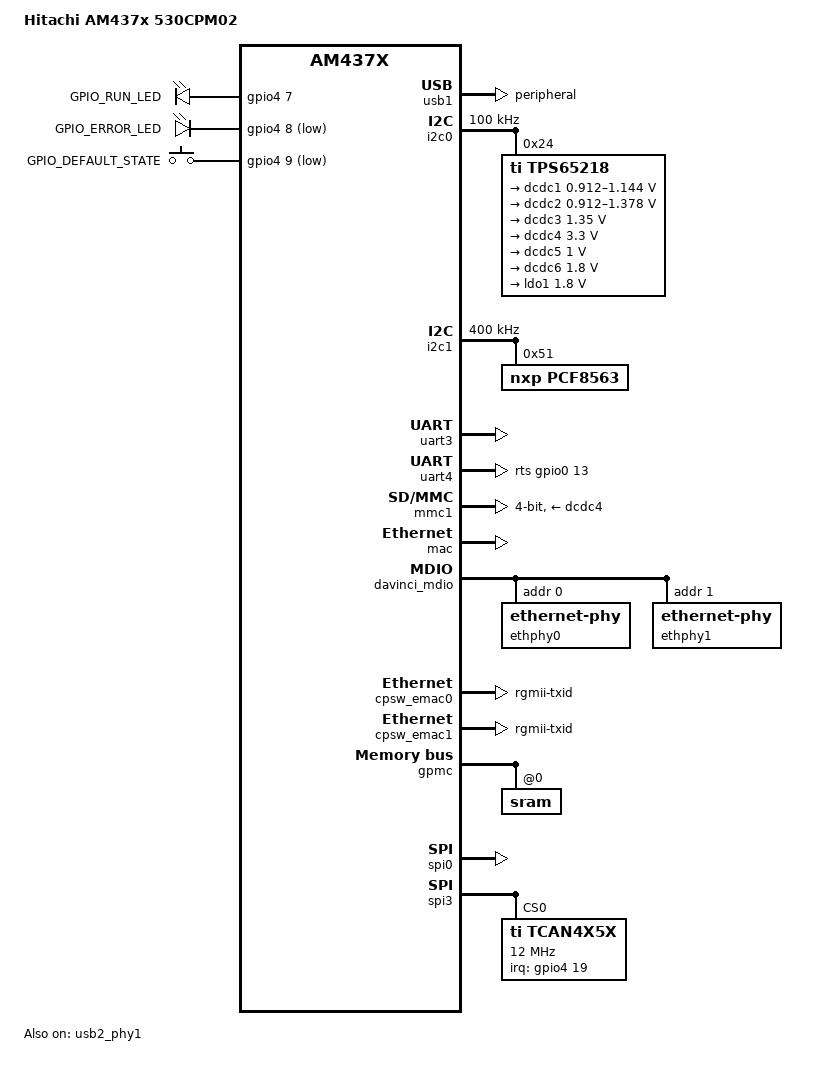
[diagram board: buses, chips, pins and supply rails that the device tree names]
/*
 * Copyright 2021-2022 Hitachi Energy.
 *
 * This program is free software; you can redistribute it and/or modify
 * it under the terms of the GNU General Public License version 2 as
 * published by the Free Software Foundation.
 */

/* Hitachi 530CPM02 */

/dts-v1/;

#include "am4372.dtsi"
#include "dt-bindings/pinctrl/am43xx.h"
#include "dt-bindings/pwm/pwm.h"
#include "dt-bindings/gpio/gpio.h"
#include "dt-bindings/net/ti-dp83867.h"
#include "dt-bindings/input/input.h"

/ {
	model = "Hitachi AM437x 530CPM02";
	compatible = "ti,am437x-gp-evm","ti,am4372","ti,am43", "hitachi,am437x-530cpm02";

	chosen {
		stdout-path = &uart3;
		tick-timer = &timer2;
	};

	status_leds {
		compatible = "gpio-leds";
		pinctrl-names = "default";
		pinctrl-0 = <&leds_pins_default>;
		led-green {
			label = "GPIO_RUN_LED";
			gpios = <&gpio4 7 GPIO_ACTIVE_HIGH>;
			default-state = "off";
		};
		led-red {
			label = "GPIO_ERROR_LED";
			gpios = <&gpio4 8 GPIO_ACTIVE_LOW>;
			default-state = "on";
		};
	};

	default_switch {
		compatible = "gpio-keys";
		pinctrl-names = "default";
		pinctrl-0 = <&switch_pins_default>;
		default-switch {
			label = "GPIO_DEFAULT_STATE";
			linux,code = <BTN_0>;
			gpios = <&gpio4 9 GPIO_ACTIVE_LOW>;
		};
	};

	uio_pg_sram@0 {
		compatible = "hitachi,uio-pg-sram";
		reg = <0x01000000 0x40000>; /* 256kB */
	};
};

&am43xx_pinmux {
	pinctrl-names = "default", "sleep";

	/* Some or all the pins from the following groups are not used by device tree 
	   ext_int_pins_default
	   jtag_pins_default
	   hw_glue_pins_default
	   _24mhz_pins_default
	   _32khz_pins_default
	   rtc_pins_default
	*/

	ext_int_pins_default: ext_int_default_pinmux {
		pinctrl-single,pins = <
			0x284 ( PIN_INPUT          | MUX_MODE0 ) /* (G25) EXTINTn.nNMI               => External interrupt connected to PMIC */
		>;
	};

	jtag_pins_default: jtag_default_pinmux {
		pinctrl-single,pins = <
			0x290 ( PIN_INPUT          | MUX_MODE0 ) /* (Y24) TMS.TMS                    => JTAG TMS */
			0x294 ( PIN_INPUT          | MUX_MODE0 ) /* (Y20) TDI.TDI                    => JTAG TDI */
			0x298 ( PIN_OUTPUT         | MUX_MODE0 ) /* (AA24) TDO.TDO                   => JTAG TDO */
			0x29c ( PIN_INPUT          | MUX_MODE0 ) /* (AA25) TCK.TCK                   => JTAG TCK */
			0x2a0 ( PIN_INPUT          | MUX_MODE0 ) /* (Y25) nTRST.nTRST                => JTAG TRSTN */
			0x2a4 ( PIN_INPUT          | MUX_MODE0 ) /* (N23) EMU0.EMU0                  => JTAG EMU0 */
			0x2a8 ( PIN_INPUT          | MUX_MODE0 ) /* (T24) EMU1.EMU1                  => JTAG EMU1 */
		>;
	};

	hw_glue_pins_default: hw_glue_default_pinmux {
		pinctrl-single,pins = <
			0x27c ( PIN_INPUT          | MUX_MODE0 ) /* (G22) WARMRSTn.nRESETIN_OUT      => SYS_RESETN */
			0x280 ( PIN_INPUT          | MUX_MODE0 ) /* (Y23) PWRONRSTn.porz             => POWER_GOOD */
		>;
	};

	leds_pins_default: leds_default_pinmux {
		pinctrl-single,pins = <
			0x1cc ( PIN_OUTPUT         | MUX_MODE7 ) /* (AC24) cam1_data9.gpio4[7]       => GPIO_RUN_LED (low pull-down) */
			0x1d0 ( PIN_OUTPUT         | MUX_MODE7 ) /* (AD24) cam1_data8.gpio4[8]       => GPIO_ERROR_LEDN (low pull-down) */
		>;
	};

	switch_pins_default: switch_default_pinmux {
		pinctrl-single,pins = <
			0x1d4 ( PIN_INPUT          | MUX_MODE7 ) /* (AD25) cam1_hd.gpio4[9]          => GPIO_DEFAULT_STATEN */
		>;
	};

	uart_iobus_pins_default: uart_iobus_default_pinmux {
		pinctrl-single,pins = <
			0x168 ( PIN_INPUT          | MUX_MODE1 ) /* (L25) uart0_ctsn.uart4_rxd       => UART4 RX */
			0x16c ( PIN_OUTPUT         | MUX_MODE1 ) /* (J25) uart0_rtsn.uart4_txd       => UART4 TX */
			0x17c ( PIN_OUTPUT         | MUX_MODE7 ) /* (L22) uart1_rtsn.gpio0[13]       => GPIO_UART4_TX_EN (low pull-down) */
			0x144 ( PIN_OUTPUT         | MUX_MODE7 ) /* (A16) rmii1_ref_clk.gpio0[29]    => GPIO_UART4_RX_EN (low pull-down) */
			0x1d8 ( PIN_INPUT          | MUX_MODE7 ) /* (AC23) cam1_vd.gpio4[10]         => GPIO_TIME_SYNC_OUT0N (high pull-up) */
								   /* This actual output is defined as input because the output */
								   /* requires high as default state and there is no way to set */
								   /* this default state here */
			0x19c ( PIN_INPUT          | MUX_MODE7 ) /* (M24) mcasp0_ahclkr.gpio3[17]    => GPIO_TIME_SYNC_IN0 (high pull-up) */
		>;
	};

	uart_debug_console_pins_default: uart_debug_console_default_pinmux {
		pinctrl-single,pins = <
			0x228 ( PIN_INPUT          | MUX_MODE0 ) /* (H25) uart3_rxd.uart3_rxd        => UART3 RX */
			0x22c ( PIN_OUTPUT         | MUX_MODE0 ) /* (H24) uart3_txd.uart3_txd        => UART3 TX */
		>;
	};

	gpio0_pins_default: gpio0_default_pinmux {
		pinctrl-single,pins = <
			0x160 ( PIN_INPUT_PULLDOWN | MUX_MODE7 ) /* (R25) spi0_cs1.gpio0[6]          => not connected (GPIO_BIT_PROT_IN on 530CPM01/03) */
			0x164 ( PIN_INPUT_PULLDOWN | MUX_MODE7 ) /* (G24) eCAP0_in_PWM0_out.gpio0[7] => not connected (GPIO_BIT_PROT_OUT on 530CPM01/03) */
			0x0d8 ( PIN_INPUT          | MUX_MODE7 ) /* (C17) dss_data14.gpio0[10]       => SYSBOOT_14 (fix connected to high) */
			0x0dc ( PIN_INPUT          | MUX_MODE7 ) /* (D17) dss_data15.gpio0[11]       => SYSBOOT_15 (fix connected to low) */
			0x178 ( PIN_OUTPUT         | MUX_MODE7 ) /* (K22) uart1_ctsn.gpio0[12]       => GPIO_EN_IO_BUS_LEFT (low pull-down) */
			0x270 ( PIN_INPUT_PULLDOWN | MUX_MODE7 ) /* (D24) xdma_event_intr0.gpio0[19] => not connected (define as MUX_MODE3 for CPU_CLK_OUT1 signal) */
			0x274 ( PIN_INPUT          | MUX_MODE7 ) /* (C24) xdma_event_intr1.gpio0[20] => GPIO_DE_IN_OUT_CPM02 (low pull-down) */
			0x278 ( PIN_INPUT          | MUX_MODE7 ) /* (H20) clkreq.gpio0[24]           => GPIO_EMMC_RESETN (high pull-up) */
								   /* This actual output is defined as input because the output */
								   /* requires high as default state and there is no way to set */
								   /* this default state here */
		>;
	};

	gpio1_pins_default: gpio1_default_pinmux {
		pinctrl-single,pins = <
			0x170 ( PIN_INPUT_PULLDOWN | MUX_MODE7 ) /* (K25) uart0_rxd.gpio1[10]        => not connected */
			0x174 ( PIN_INPUT_PULLDOWN | MUX_MODE7 ) /* (J24) uart0_txd.gpio1[11]        => not connected */
			0x080 ( PIN_OUTPUT         | MUX_MODE7 ) /* (B9) gpmc_csn1.gpio1[30]         => GPIO_RESET_SERIAL2N (low pull-down) */
								   /* This output must be set to high to get the serial ATSAM3N */
								   /* controller out of reset */
		>;
	};

	gpio2_pins_default: gpio2_default_pinmux {
		pinctrl-single,pins = <
			0x088 ( PIN_OUTPUT         | MUX_MODE7 ) /* (B12) gpmc_csn3.gpio2[0]         => GPIO_EN_CAN_TERM (high pull-up) */
			0x08c ( PIN_OUTPUT         | MUX_MODE7 ) /* (A12) gpmc_clk.gpio2[1]          => GPIO_24V_IO_ON (low pull-down) */
								   /* This output must be set to high to enable the 24V output  */
								   /* on the right board side */
			0x090 ( PIN_INPUT_PULLDOWN | MUX_MODE7 ) /* (A9) gpmc_advn_ale.gpio2[2]      => not connected (GPIO_EN_RS232_CP1 on 530CPM01/02) */
		>;
	};

	gpio3_pins_default: gpio3_default_pinmux {
		pinctrl-single,pins = <
			0x1a0 ( PIN_OUTPUT         | MUX_MODE7 ) /* (L23) mcasp0_aclkr.gpio3[18]     => GPIO_UC_ACT_LED2_CPM02 (not connected) */
			0x1a4 ( PIN_OUTPUT         | MUX_MODE7 ) /* (K23) mcasp0_fsr.gpio3[19]       => GPIO_UC_SPEED_LED2_CPM02 (not connected) */
			0x1a8 ( PIN_OUTPUT         | MUX_MODE7 ) /* (M25) mcasp0_axr1.gpio3[20]      => GPIO_UC_ACT_LED (not connected) */
			0x1ac ( PIN_OUTPUT         | MUX_MODE7 ) /* (L24) mcasp0_ahclkx.gpio3[21]    => GPIO_UC_SPEED_LED (not connected) */
			0x264 ( PIN_INPUT_PULLDOWN | MUX_MODE7 ) /* (P22) spi2_d0.gpio3[22]          => not connected */
			0x268 ( PIN_INPUT_PULLDOWN | MUX_MODE7 ) /* (P20) spi2_d1.gpio3[23]          => not connected */
			0x260 ( PIN_OUTPUT         | MUX_MODE7 ) /* (N20) spi2_sclk.gpio3[24]        => GPIO_EN_DE_IO_LEFT (low pull-down) */
			0x26c ( PIN_OUTPUT         | MUX_MODE7 ) /* (T23) spi2_cs0.gpio3[25]         => GPIO_ETH_RESETN (not connected) */
		>;
	};

	gpio4_pins_default: gpio4_default_pinmux {
		pinctrl-single,pins = <
			0x1b0 ( PIN_INPUT          | MUX_MODE7 ) /* (AE17) cam0_hd.gpio4[0]          => GPIO_5V_SENSE (low pull-down) */
			0x1b4 ( PIN_INPUT_PULLDOWN | MUX_MODE7 ) /* (AD18) cam0_vd.gpio4[1]          => not connected */
			0x1b8 ( PIN_INPUT_PULLDOWN | MUX_MODE7 ) /* (AC18) cam0_field.gpio4[2]       => not connected */
			0x1bc ( PIN_INPUT_PULLDOWN | MUX_MODE7 ) /* (AD17) cam0_wen.gpio4[3]         => not connected */
			0x1c0 ( PIN_INPUT_PULLDOWN | MUX_MODE7 ) /* (AC20) cam0_pclk.gpio4[4]        => not connected */
			0x1c4 ( PIN_INPUT          | MUX_MODE7 ) /* (AB19) cam0_data8.gpio4[5]       => SYSBOOT_18 (fix connected to low) */
			0x1c8 ( PIN_INPUT          | MUX_MODE7 ) /* (AA19) cam0_data9.gpio4[6]       => SYSBOOT_17 (fix connected to low) */
			0x1dc ( PIN_OUTPUT         | MUX_MODE7 ) /* (AE21) cam1_pclk.gpio4[11]       => GPIO_DISABLE_CAN_RIGHTN (low pull-down) */
								   /* This output must be set to high to enable CAN FD bus */
								   /* interface to the right board side */
			0x1e0 ( PIN_INPUT          | MUX_MODE7 ) /* (AC25) cam1_field.gpio4[12]      => GPIO_TIME_SYNC_OUT1N (high pull-up) */
								   /* This actual output is defined as input because the output */
								   /* requires high as default state and there is no way to set */
								   /* this default state here */
			0x1e4 ( PIN_INPUT          | MUX_MODE7 ) /* (AB25) cam1_wen.gpio4[13]        => GPIO_TIME_SYNC_OUT2N (high pull-up) */
								   /* This actual output is defined as input because the output */
								   /* requires high as default state and there is no way to set */
								   /* this default state here */
			0x200 ( PIN_OUTPUT         | MUX_MODE7 ) /* (AD23) cam1_data6.gpio4[20]      => GPIO_EN_IO_BUS_RIGHT (low pull-down) */
			0x204 ( PIN_OUTPUT         | MUX_MODE7 ) /* (AE24) cam1_data7.gpio4[21]      => GPIO_EN_DE_IO_RIGHT (low pull-down) */
			0x210 ( PIN_INPUT          | MUX_MODE7 ) /* (Y18) cam0_data2.gpio4[24]       => GPIO_ETH_INTN (high pull-up) */
			0x214 ( PIN_INPUT          | MUX_MODE7 ) /* (AA18) cam0_data3.gpio4[25]      => GPIO_ETH2_INTN (high pull-up) */
			0x218 ( PIN_INPUT_PULLUP   | MUX_MODE7 ) /* (AE19) cam0_data4.gpio4[26]      => GPIO_MMC0_DAT4 (not used) */
			0x21c ( PIN_INPUT_PULLUP   | MUX_MODE7 ) /* (AD19) cam0_data5.gpio4[27]      => GPIO_MMC0_DAT5 (not used) */
			0x220 ( PIN_INPUT_PULLUP   | MUX_MODE7 ) /* (AE20) cam0_data6.gpio4[28]      => GPIO_MMC0_DAT6 (not used) */
			0x224 ( PIN_INPUT_PULLUP   | MUX_MODE7 ) /* (AD20) cam0_data7.gpio4[29]      => GPIO_MMC0_DAT7 (not used) */
		>;
	};

	gpio5_pins_default: gpio5_default_pinmux {
		pinctrl-single,pins = <
			0x250 ( PIN_INPUT          | MUX_MODE7 ) /* (P25) spi4_sclk.gpio5[4]         => GPIO_HW_IDENT0 (fix connected to high) */
			0x254 ( PIN_INPUT          | MUX_MODE7 ) /* (R24) spi4_d0.gpio5[5]           => GPIO_HW_IDENT1 (fix connected to low) */
			0x258 ( PIN_INPUT          | MUX_MODE7 ) /* (P24) spi4_d1.gpio5[6]           => GPIO_HW_IDENT2 (fix connected to low) */
			0x25c ( PIN_INPUT          | MUX_MODE7 ) /* (N25) spi4_cs0.gpio5[7]          => GPIO_HW_IDENT3 (fix connected to low) */
			0x20c ( PIN_INPUT_PULLDOWN | MUX_MODE7 ) /* (AB18) cam0_data1.gpio5[20]      => GPIO_RESET_SERIAL1N (low pull-down) */
								   /* This output must be set to high to get the serial ATSAM3N */
								   /* controller out of reset */
		>;
	};

	sram_128x16_pins_default: sram_128x16_default_pinmux {
		pinctrl-single,pins = <
			0x0d4 ( PIN_OUTPUT         | MUX_MODE1 ) /* (D19) dss_data13.gpmc_a17 */
			0x0d0 ( PIN_OUTPUT         | MUX_MODE1 ) /* (C19) dss_data12.gpmc_a16 */
			0x0cc ( PIN_OUTPUT         | MUX_MODE1 ) /* (B18) dss_data11.gpmc_a15 */
			0x0c8 ( PIN_OUTPUT         | MUX_MODE1 ) /* (A18) dss_data10.gpmc_a14 */
			0x0c4 ( PIN_OUTPUT         | MUX_MODE1 ) /* (B19) dss_data9.gpmc_a13 */
			0x0c0 ( PIN_OUTPUT         | MUX_MODE1 ) /* (A19) dss_data8.gpmc_a12 */
			0x0ec ( PIN_OUTPUT         | MUX_MODE1 ) /* (A24) dss_ac_bias_en.gpmc_a11 */
			0x0e8 ( PIN_OUTPUT         | MUX_MODE1 ) /* (A22) dss_pclk.gpmc_a10 */
			0x0e4 ( PIN_OUTPUT         | MUX_MODE1 ) /* (A23) dss_hsync.gpmc_a9 */
			0x0e0 ( PIN_OUTPUT         | MUX_MODE1 ) /* (B23) dss_vsync.gpmc_a8 */
			0x0bc ( PIN_OUTPUT         | MUX_MODE1 ) /* (E19) dss_data7.gpmc_a7 */
			0x0b8 ( PIN_OUTPUT         | MUX_MODE1 ) /* (C20) dss_data6.gpmc_a6 */
			0x0b4 ( PIN_OUTPUT         | MUX_MODE1 ) /* (B20) dss_data5.gpmc_a5 */
			0x0b0 ( PIN_OUTPUT         | MUX_MODE1 ) /* (A20) dss_data4.gpmc_a4 */
			0x0ac ( PIN_OUTPUT         | MUX_MODE1 ) /* (C21) dss_data3.gpmc_a3 */
			0x0a8 ( PIN_OUTPUT         | MUX_MODE1 ) /* (B21) dss_data2.gpmc_a2 */
			0x0a4 ( PIN_OUTPUT         | MUX_MODE1 ) /* (A21) dss_data1.gpmc_a1 */
			0x0a0 ( PIN_OUTPUT         | MUX_MODE1 ) /* (B22) dss_data0.gpmc_a0 */
			0x03c ( PIN_INPUT          | MUX_MODE0 ) /* (A11) gpmc_ad15.gpmc_ad15 */
			0x038 ( PIN_INPUT          | MUX_MODE0 ) /* (B11) gpmc_ad14.gpmc_ad14 */
			0x034 ( PIN_INPUT          | MUX_MODE0 ) /* (C11) gpmc_ad13.gpmc_ad13 */
			0x030 ( PIN_INPUT          | MUX_MODE0 ) /* (E11) gpmc_ad12.gpmc_ad12 */
			0x02c ( PIN_INPUT          | MUX_MODE0 ) /* (D11) gpmc_ad11.gpmc_ad11 */
			0x028 ( PIN_INPUT          | MUX_MODE0 ) /* (F11) gpmc_ad10.gpmc_ad10 */
			0x024 ( PIN_INPUT          | MUX_MODE0 ) /* (A10) gpmc_ad9.gpmc_ad9 */
			0x020 ( PIN_INPUT          | MUX_MODE0 ) /* (B10) gpmc_ad8.gpmc_ad8 */
			0x01c ( PIN_INPUT          | MUX_MODE0 ) /* (B8) gpmc_ad7.gpmc_ad7 */
			0x018 ( PIN_INPUT          | MUX_MODE0 ) /* (C8) gpmc_ad6.gpmc_ad6 */
			0x014 ( PIN_INPUT          | MUX_MODE0 ) /* (A7) gpmc_ad5.gpmc_ad5 */
			0x010 ( PIN_INPUT          | MUX_MODE0 ) /* (B7) gpmc_ad4.gpmc_ad4 */
			0x00c ( PIN_INPUT          | MUX_MODE0 ) /* (A6) gpmc_ad3.gpmc_ad3 */
			0x008 ( PIN_INPUT          | MUX_MODE0 ) /* (B6) gpmc_ad2.gpmc_ad2 */
			0x004 ( PIN_INPUT          | MUX_MODE0 ) /* (A5) gpmc_ad1.gpmc_ad1 */
			0x000 ( PIN_INPUT          | MUX_MODE0 ) /* (B5) gpmc_ad0.gpmc_ad0 */
			0x084 ( PIN_OUTPUT         | MUX_MODE1 ) /* (F10) gpmc_csn2.gpmc_be1n */
			0x07c ( PIN_OUTPUT         | MUX_MODE0 ) /* (A8) gpmc_csn0.gpmc_csn0 */
			0x094 ( PIN_OUTPUT         | MUX_MODE0 ) /* (E10) gpmc_oen_ren.gpmc_oen_ren */
			0x098 ( PIN_OUTPUT         | MUX_MODE0 ) /* (D10) gpmc_wen.gpmc_wen */
			0x09c ( PIN_OUTPUT         | MUX_MODE0 ) /* (C10) gpmc_be0n_cle.gpmc_be0n_cle */
		>;
	};

	i2c_pmic_pins_default: i2c_pmic_default_pinmux {
		pinctrl-single,pins = <
			0x18c ( PIN_INPUT          | MUX_MODE0 ) /* (Y22) I2C0_SCL.I2C0_SCL          => I2C0 SCL */
			0x188 ( PIN_INPUT          | MUX_MODE0 ) /* (AB24) I2C0_SDA.I2C0_SDA         => I2C0 SDA */
		>;
	};

	i2c_rtc_atecc_pins_default: i2c_rtc_atecc_default_pinmux {
		pinctrl-single,pins = <
			0x184 ( PIN_INPUT          | MUX_MODE3 ) /* (L21) uart1_txd.I2C1_SCL         => I2C1 SCL */
			0x180 ( PIN_INPUT          | MUX_MODE3 ) /* (K21) uart1_rxd.I2C1_SDA         => I2C1 SDA */
		>;
	};

	mdio_pins_default: mdio_default_pinmux {
		pinctrl-single,pins = <
			0x14c ( PIN_OUTPUT         | MUX_MODE0 ) /* (B17) mdio_clk.mdio_clk          => MDIO CLK */
			0x148 ( PIN_INPUT          | MUX_MODE0 ) /* (A17) mdio_data.mdio_data        => MDIO DATA */
		>;
	};

	eth_cpsw_pins_default: eth_cpsw_default_pinmux {
		pinctrl-single,pins = <
			/* E1 interface */
			0x12c ( PIN_OUTPUT         | MUX_MODE2 ) /* (D14) mii1_tx_clk.gmii1_txclk */
			0x114 ( PIN_OUTPUT         | MUX_MODE2 ) /* (A13) mii1_tx_en.gmii1_txen */
			0x118 ( PIN_INPUT          | MUX_MODE2 ) /* (A15) mii1_rx_dv.gmii1_rxdv */
			0x130 ( PIN_INPUT          | MUX_MODE2 ) /* (D13) mii1_rx_clk.gmii1_rxclk */
			0x128 ( PIN_OUTPUT         | MUX_MODE2 ) /* (B15) mii1_txd0.gmii1_txd0 */
			0x124 ( PIN_OUTPUT         | MUX_MODE2 ) /* (A14) mii1_txd1.gmii1_txd1 */
			0x120 ( PIN_OUTPUT         | MUX_MODE2 ) /* (C13) mii1_txd2.gmii1_txd2 */
			0x11c ( PIN_OUTPUT         | MUX_MODE2 ) /* (C16) mii1_txd3.gmii1_txd3 */
			0x140 ( PIN_INPUT          | MUX_MODE2 ) /* (F17) mii1_rxd0.gmii1_rxd0 */
			0x13c ( PIN_INPUT          | MUX_MODE2 ) /* (B16) mii1_rxd1.gmii1_rxd1 */
			0x138 ( PIN_INPUT          | MUX_MODE2 ) /* (E16) mii1_rxd2.gmii1_rxd2 */
			0x134 ( PIN_INPUT          | MUX_MODE2 ) /* (C14) mii1_rxd3.gmii1_rxd3 */

			/* E2 interface */
			0x040 ( PIN_OUTPUT         | MUX_MODE2 ) /* (C3) gpmc_a0.gmii2_txen */
			0x044 ( PIN_INPUT          | MUX_MODE2 ) /* (C5) gpmc_a1.gmii2_rxdv */
			0x058 ( PIN_INPUT          | MUX_MODE2 ) /* (E8) gpmc_a6.gmii2_txclk */
			0x05c ( PIN_INPUT          | MUX_MODE2 ) /* (F6) gpmc_a7.gmii2_rxclk */
			0x054 ( PIN_OUTPUT         | MUX_MODE2 ) /* (E7) gpmc_a5.gmii2_txd0 */
			0x050 ( PIN_OUTPUT         | MUX_MODE2 ) /* (D7) gpmc_a4.gmii2_txd1 */
			0x04c ( PIN_OUTPUT         | MUX_MODE2 ) /* (A4) gpmc_a3.gmii2_txd2 */
			0x048 ( PIN_OUTPUT         | MUX_MODE2 ) /* (C6) gpmc_a2.gmii2_txd3 */
			0x06c ( PIN_INPUT          | MUX_MODE2 ) /* (D8) gpmc_a11.gmii2_rxd0 */
			0x068 ( PIN_INPUT          | MUX_MODE2 ) /* (G8) gpmc_a10.gmii2_rxd1 */
			0x064 ( PIN_INPUT          | MUX_MODE2 ) /* (B4) gpmc_a9.gmii2_rxd2 */
			0x060 ( PIN_INPUT          | MUX_MODE2 ) /* (F7) gpmc_a8.gmii2_rxd3 */
		>;
	};

	emmc_pins_default: emmc_default_pinmux {
		pinctrl-single,pins = <
			0x100 ( PIN_INPUT_PULLUP   | MUX_MODE0 ) /* (D1) mmc0_clk.mmc0_clk */
			0x104 ( PIN_INPUT_PULLUP   | MUX_MODE0 ) /* (D2) mmc0_cmd.mmc0_cmd */
			0x0fc ( PIN_INPUT_PULLUP   | MUX_MODE0 ) /* (C1) mmc0_dat0.mmc0_dat0 */
			0x0f8 ( PIN_INPUT_PULLUP   | MUX_MODE0 ) /* (C2) mmc0_dat1.mmc0_dat1 */
			0x0f4 ( PIN_INPUT_PULLUP   | MUX_MODE0 ) /* (B2) mmc0_dat2.mmc0_dat2 */
			0x0f0 ( PIN_INPUT_PULLUP   | MUX_MODE0 ) /* (B1) mmc0_dat3.mmc0_dat3 */
		>;
	};

	spi0_atsam_pins_default: spi0_atsam_default_pinmux {
		pinctrl-single,pins = <
			0x150 ( PIN_OUTPUT         | MUX_MODE0 ) /* (P23) spi0_sclk.spi0_sclk        => SPI0_CLK */
			0x154 ( PIN_OUTPUT         | MUX_MODE0 ) /* (T22) spi0_d0.spi0_d0            => SPI0_MISO */
			0x158 ( PIN_OUTPUT         | MUX_MODE0 ) /* (T21) spi0_d1.spi0_d1            => SPI0_MOSI */
			0x15c ( PIN_OUTPUT         | MUX_MODE0 ) /* (T20) spi0_cs0.spi0_cs0          => SPI0_CS0N */
			0x190 ( PIN_OUTPUT         | MUX_MODE2 ) /* (N24) mcasp0_aclkx.spi0_cs3      => SPI0_CS3N */
			0x194 ( PIN_INPUT_PULLUP   | MUX_MODE7 ) /* (N22) mcasp0_fsx.gpio3[15]       => GPIO_SPI0_IRQ0N (no pull) */
			0x198 ( PIN_INPUT_PULLUP   | MUX_MODE7 ) /* (H23) mcasp0_axr0.gpio3[16]      => GPIO_SPI0_IRQ1N (no pull) */
			0x208 ( PIN_OUTPUT         | MUX_MODE7 ) /* (AE18) cam0_data0.gpio5[19]      => GPIO_SPI0_FEEDBACKN (high pull-up) */
								   /* This output used as feedback/time synchronization for the */
								   /* ATSAM3N devices toggles, so the high default state is not */
								   /* required and we can define this pin as standard output */
		>;
	};

	spi3_can_fd_pins_default: spi3_can_fd_default_pinmux {
		pinctrl-single,pins = <
			0x1f4 ( PIN_OUTPUT         | MUX_MODE2 ) /* (AE22) cam1_data3.spi3_sclk      => SPI3_CLK */
			0x1e8 ( PIN_OUTPUT         | MUX_MODE2 ) /* (AB20) cam1_data0.spi3_d0        => SPI3_MISO */
			0x1ec ( PIN_OUTPUT         | MUX_MODE2 ) /* (AC21) cam1_data1.spi3_d1        => SPI3_MOSI */
			0x1f0 ( PIN_OUTPUT         | MUX_MODE2 ) /* (AD21) cam1_data2.spi3_cs0       => SPI3_CS0N */
			0x1f8 ( PIN_INPUT          | MUX_MODE7 ) /* (AD22) cam1_data4.gpio4[18]      => GPIO_CAN_GPIO2N (high pull-up) */
			0x1fc ( PIN_INPUT          | MUX_MODE7 ) /* (AE23) cam1_data5.gpio4[19]      => GPIO_CAN_GPIO1N (high pull-up) */
			0x230 ( PIN_OUTPUT         | MUX_MODE7 ) /* (H22) uart3_ctsn.gpio5[0]        => GPIO_CAN_RESET (no pull) */
			0x234 ( PIN_INPUT          | MUX_MODE7 ) /* (K24) uart3_rtsn.gpio5[1]        => GPIO_CAN_INTN (high pull-up) */
		>;
	};

	_24mhz_pins_default: _24mhz_default_pinmux {
		pinctrl-single,pins = <
			0x288 ( PIN_INPUT          | MUX_MODE0 ) /* (C25) XTALIN.OSC0_IN */
			0x28c ( PIN_OUTPUT         | MUX_MODE0 ) /* (B25) XTALOUT.OSC0_OUT */
		>;
	};

	_32khz_pins_default: _32khz_default_pinmux {
		pinctrl-single,pins = <
			0x2ac ( PIN_INPUT          | MUX_MODE0 ) /* (AE5) RTC_XTALIN.OSC1_IN */
			0x2b0 ( PIN_OUTPUT         | MUX_MODE0 ) /* (AE4) RTC_XTALOUT.OSC1_OUT */
		>;
	};

	rtc_pins_default: rtc_default_pinmux {
		pinctrl-single,pins = <
			0x2b4 ( PIN_INPUT          | MUX_MODE0 ) /* (AE6) RTC_PWRONRSTn.RTC_PORz */
			0x2b8 ( PIN_OUTPUT         | MUX_MODE0 ) /* (AE3) RTC_WAKEUP.RTC_WAKEUP */
			0x2bc ( PIN_INPUT          | MUX_MODE0 ) /* (AD6) RTC_PMIC_EN.RTC_PMIC_EN */
		>;
	};

	usb_pins_default: usb_default_pinmux {
		pinctrl-single,pins = <
			0x2c0 ( PIN_OUTPUT         | MUX_MODE0 ) /* (G21) USB0_DRVVBUS.USB0_DRVVBUS  => USB0_DRVVBUS */
			0x2c4 ( PIN_INPUT          | MUX_MODE9 ) /* (F25) USB1_DRVVBUS.gpio0[25]     => GPIO_USB0_FAULTN */
		>;
	};
};

&usb2_phy1 {
	status = "okay";
};

&usb1 {
	status = "okay";
	pinctrl-names = "default";
	pinctrl-0 = <&usb_pins_default>;
	dr_mode = "peripheral";
	maximum-speed = "full-speed";
};

&i2c0 {
	status = "okay";
	pinctrl-names = "default";
	pinctrl-0 = <&i2c_pmic_pins_default>;
	clock-frequency = <100000>;

	tps65218: tps65218@24 {
		reg = <0x24>;
		compatible = "ti,tps65218";
		interrupts = <GIC_SPI 7 IRQ_TYPE_LEVEL_HIGH>; /* NMIn */
		interrupt-controller;
		#interrupt-cells = <2>;

		dcdc1: regulator-dcdc1 {
			compatible = "ti,tps65218-dcdc1";
			regulator-name = "vdd_core";
			regulator-min-microvolt = <912000>;
			regulator-max-microvolt = <1144000>;
			regulator-boot-on;
			regulator-always-on;
		};

		dcdc2: regulator-dcdc2 {
			compatible = "ti,tps65218-dcdc2";
			regulator-name = "vdd_mpu";
			regulator-min-microvolt = <912000>;
			regulator-max-microvolt = <1378000>;
			regulator-boot-on;
			regulator-always-on;
		};

		dcdc3: regulator-dcdc3 {
			compatible = "ti,tps65218-dcdc3";
			regulator-name = "vdd_ddr";
			regulator-boot-on;
			regulator-always-on;
			regulator-min-microvolt = <1350000>;
			regulator-max-microvolt = <1350000>;
		};

		dcdc4: regulator-dcdc4 {
			compatible = "ti,tps65218-dcdc4";
			regulator-name = "v3_3bat";
			regulator-min-microvolt = <3300000>;
			regulator-max-microvolt = <3300000>;
			regulator-boot-on;
			regulator-always-on;
		};

		dcdc5: regulator-dcdc5 {
			compatible = "ti,tps65218-dcdc5";
			regulator-name = "vdd_rtc";
			regulator-min-microvolt = <1000000>;
			regulator-max-microvolt = <1000000>;
			regulator-boot-on;
			regulator-always-on;
		};

		dcdc6: regulator-dcdc6 {
			compatible = "ti,tps65218-dcdc6";
			regulator-name = "vdds_rtc";
			regulator-min-microvolt = <1800000>;
			regulator-max-microvolt = <1800000>;
			regulator-boot-on;
			regulator-always-on;
		};

		ldo1: regulator-ldo1 {
			compatible = "ti,tps65218-ldo1";
			regulator-name = "v1_8bat";
			regulator-min-microvolt = <1800000>;
			regulator-max-microvolt = <1800000>;
			regulator-boot-on;
			regulator-always-on;
		};
	};
};

&i2c1 {
	status = "okay";
	pinctrl-names = "default";
	pinctrl-0 = <&i2c_rtc_atecc_pins_default>;
	clock-frequency = <400000>;

	pcf8563@51 {
		compatible = "nxp,pcf8563";
		reg = <0x51>;
	};

	crypto_atecc608@60 {
		compatible = "dummy";
		reg = <0x60>;
		label = "CRYPTO_CHIP_ATECC608";
	};
};

&gpio0 {
	pinctrl-names = "default";
	pinctrl-0 = <&gpio0_pins_default>;
	status = "okay";
	gpio-line-names =
		"",                     "",                 "",                 "",           /* 0..3 */
		"",                     "",                 "NC",               "NC",         /* 4..7 */
		"",                     "",                 "SYSBOOT_14",       "SYSBOOT_15", /* 8..11 */
		"GPIO_EN_IO_BUS_LEFT",  "GPIO_UART4_TX_EN", "",                 "",           /* 12..15 */
		"",                     "",                 "",                 "NC",         /* 16..19 */
		"GPIO_DE_IN_OUT_CPM02", "",                 "",                 "",           /* 20..23 */
		"GPIO_EMMC_RESETN",     "GPIO_USB0_FAULTN", "",                 "",           /* 24..27 */
		"",                     "GPIO_UART4_RX_EN", "",                 "";           /* 28..31 */
};

&gpio1 {
	pinctrl-names = "default";
	pinctrl-0 = <&gpio1_pins_default>;
	status = "okay";
	gpio-line-names =
		"", "", "",                    "",   /* 0..3 */
		"", "", "",                    "",   /* 4..7 */
		"", "", "NC",                  "NC", /* 8..11 */
		"", "", "",                    "",   /* 12..15 */
		"", "", "",                    "",   /* 16..19 */
		"", "", "",                    "",   /* 20..23 */
		"", "", "",                    "",   /* 24..27 */
		"", "", "GPIO_RESET_SERIAL2N", "";   /* 28..31 */
};

&gpio2 {
	pinctrl-names = "default";
	pinctrl-0 = <&gpio2_pins_default>;
	status = "okay";
	gpio-line-names =
		"GPIO_EN_CAN_TERM", "GPIO_24V_IO_ON", "NC", "", /* 0..3 */
		"",                 "",               "",   "", /* 4..7 */
		"",                 "",               "",   "", /* 8..11 */
		"",                 "",               "",   "", /* 12..15 */
		"",                 "",               "",   "", /* 16..19 */
		"",                 "",               "",   "", /* 20..23 */
		"",                 "",               "",   "", /* 24..27 */
		"",                 "",               "",   ""; /* 28..31 */
};

&gpio3 {
	pinctrl-names = "default";
	pinctrl-0 = <&gpio3_pins_default>;
	status = "okay";
	gpio-line-names =
		"",                   "",                   "",                       "",                         /* 0..3 */
		"",                   "",                   "",                       "",                         /* 4..7 */
		"",                   "",                   "",                       "",                         /* 8..11 */
		"",                   "",                   "",                       "GPIO_SPI0_IRQ0N",          /* 12..15 */
		"GPIO_SPI0_IRQ0N",    "GPIO_TIME_SYNC_IN0", "GPIO_UC_ACT_LED2_CPM02", "GPIO_UC_SPEED_LED2_CPM02", /* 16..19 */
		"GPIO_UC_ACT_LED",    "GPIO_UC_SPEED_LED",  "NC",                     "NC",                       /* 20..23 */
		"GPIO_EN_DE_IO_LEFT", "GPIO_ETH_RESETN",    "",                       "",                         /* 24..27 */
		"",                   "",                   "",                       "";                         /* 28..31 */
};

&gpio4 {
	pinctrl-names = "default";
	pinctrl-0 = <&gpio4_pins_default>;
	status = "okay";
	gpio-line-names =
		"GPIO_5V_SENSE",        "NC",                   "NC",                   "NC",                      /* 0..3 */
		"NC",                   "SYSBOOT_18",           "SYSBOOT_17",           "GPIO_RUN_LED",            /* 4..7 */
		"GPIO_ERROR_LED",       "GPIO_DEFAULT_STATEN",  "GPIO_TIME_SYNC_OUT0N", "GPIO_DISABLE_CAN_RIGHTN", /* 8..11 */
		"GPIO_TIME_SYNC_OUT1N", "GPIO_TIME_SYNC_OUT2N", "",                     "",                        /* 12..15 */
		"",                     "",                     "GPIO_CAN_GPIO2N",      "GPIO_CAN_GPIO1N",         /* 16..19 */
		"GPIO_EN_IO_BUS_RIGHT", "GPIO_EN_DE_IO_RIGHT",  "",                     "",                        /* 20..23 */
		"GPIO_ETH_INTN",        "GPIO_ETH2_INTN",       "GPIO_MMC0_DAT4",       "GPIO_MMC0_DAT5",          /* 24..27 */
		"GPIO_MMC0_DAT6",       "GPIO_MMC0_DAT7",       "",                     "";                        /* 28..31 */
};

&gpio5 {
	pinctrl-names = "default";
	pinctrl-0 = <&gpio5_pins_default>;
	status = "okay";
	gpio-line-names =
		"GPIO_CAN_RESET",      "GPIO_CAN_INTN",  "",               "",                    /* 0..3 */
		"GPIO_HW_IDENT0",      "GPIO_HW_IDENT1", "GPIO_HW_IDENT2", "GPIO_HW_IDENT3",      /* 4..7 */
		"",                    "",               "",               "",                    /* 8..11 */
		"",                    "",               "",               "",                    /* 12..15 */
		"",                    "",               "",               "GPIO_SPI0_FEEDBACKN", /* 16..19 */
		"GPIO_RESET_SERIAL1N", "",               "",               "",                    /* 20..23 */
		"",                    "",               "",               "",                    /* 24..27 */
		"",                    "",               "",               "";                    /* 28..31 */
};

&uart3 {
	status = "okay";
	pinctrl-names = "default";
	pinctrl-0 = <&uart_debug_console_pins_default>;
	u-boot,dm-spl;
};

&uart4 {
	status = "okay";
	pinctrl-names = "default";
	pinctrl-0 = <&uart_iobus_pins_default>;
	rts-gpios = <&gpio0 13 GPIO_ACTIVE_HIGH>;
	rx-disable-gpios = <&gpio0 29 GPIO_ACTIVE_HIGH>;
	linux,rs485-enabled-at-boot-time;
	dmas = <&edma_xbar 14 2 9>, <&edma_xbar 15 2 10>;
	dma-names = "tx", "rx";
};

&mmc1 {
	status = "okay";
	vmmc-supply = <&dcdc4>;
	bus-width = <4>;
	pinctrl-names = "default";
	pinctrl-0 = <&emmc_pins_default>;
};

&mac {
	status = "okay";
	pinctrl-names = "default";
	pinctrl-0 = <&eth_cpsw_pins_default>;
	dual_emac;
};

&davinci_mdio {
	status = "okay";
	pinctrl-names = "default";
	pinctrl-0 = <&mdio_pins_default>;
	compatable = "ti, cpsw-mdio","ti,davinci_mdio";

	ethphy0: ethernet-phy@0{
		reg = <0>;
		ti,rx-internal-delay = <DP83867_RGMIIDCTL_1_75_NS>;
		ti,tx-internal-delay = <DP83867_RGMIIDCTL_1_75_NS>;
		ti,fifo-depth = <DP83867_PHYCR_FIFO_DEPTH_4_B_NIB>;
		ti,min-output-impedence;
		ti,dp83867-rxctrl-strap-quirk;
	};
	ethphy1: ethernet-phy@1{
		reg = <1>;
		ti,rx-internal-delay = <DP83867_RGMIIDCTL_1_75_NS>;
		ti,tx-internal-delay = <DP83867_RGMIIDCTL_1_75_NS>;
		ti,fifo-depth = <DP83867_PHYCR_FIFO_DEPTH_4_B_NIB>;
		ti,min-output-impedence;
		ti,dp83867-rxctrl-strap-quirk;
	};
};

&cpsw_emac0 {
	phy_id = <&ethphy0>;
	phy-mode = "rgmii-txid";
	dual_emac_res_vlan = <1>;
};

&cpsw_emac1 {
	phy_id = <&ethphy1>;
	phy-mode = "rgmii-txid";
	dual_emac_res_vlan = <2>;
};

&gpmc {
	status = "okay";
	pinctrl-names = "default";
	pinctrl-0 = <&sram_128x16_pins_default>;
	ranges = <0x0 0x0 0x1000000 0x40000>;

	#address-cells = <2>;
	#size-cells = <1>;

	sram@0,0 {
		reg = <0x0 0x0 0x40000>; /* 256kB */
		bank-width = <0x2>;
		gpmc,cs-on-ns = <0x0>;
		gpmc,cs-rd-off-ns = <0x2e>;
		gpmc,cs-wr-off-ns = <0x2d>;
		gpmc,adv-on-ns = <0x0>;
		gpmc,adv-rd-off-ns = <0x2e>;
		gpmc,adv-wr-off-ns = <0x2d>;
		gpmc,we-on-ns = <0x0>;
		gpmc,we-off-ns = <0x2d>;
		gpmc,oe-on-ns = <0x0>;
		gpmc,oe-off-ns = <0x2d>;
		gpmc,access-ns = <0x2e>;
		gpmc,rd-cycle-ns = <0x3f>;
		gpmc,wr-cycle-ns = <0x2d>;
	};
};

&spi0 {
	status = "okay";
	pinctrl-names = "default";
	pinctrl-0 = <&spi0_atsam_pins_default>;
	dmas = <&edma 16 0
		&edma 17 0
		&edma 18 0
		&edma 19 0
		&edma 20 0
		&edma 21 0
		&edma_xbar 53 0 26
		&edma_xbar 54 0 27>;
	dma-names = "tx0", "rx0", "tx1", "rx1", "tx2", "rx2", "tx3", "rx3";
};

&spi3 {
	status = "okay";
	pinctrl-names = "default";
	pinctrl-0 = <&spi3_can_fd_pins_default>;
	dmas = <&edma_xbar 42 0 53
		&edma_xbar 43 0 54>;
	dma-names = "tx0", "rx0";

	tcan4x5x: tcan4x5x@0 {
		compatible = "ti,tcan4x5x";
		reg = <0>;
		#address-cells = <1>;
		#size-cells = <1>;
		spi-max-frequency = <12000000>;
		bosch,mram-cfg = <0x0 0 0 32 0 0 1 1>;
		interrupt-parent = <&gpio4>;
		interrupts = <19 IRQ_TYPE_LEVEL_LOW>;
	};
};

